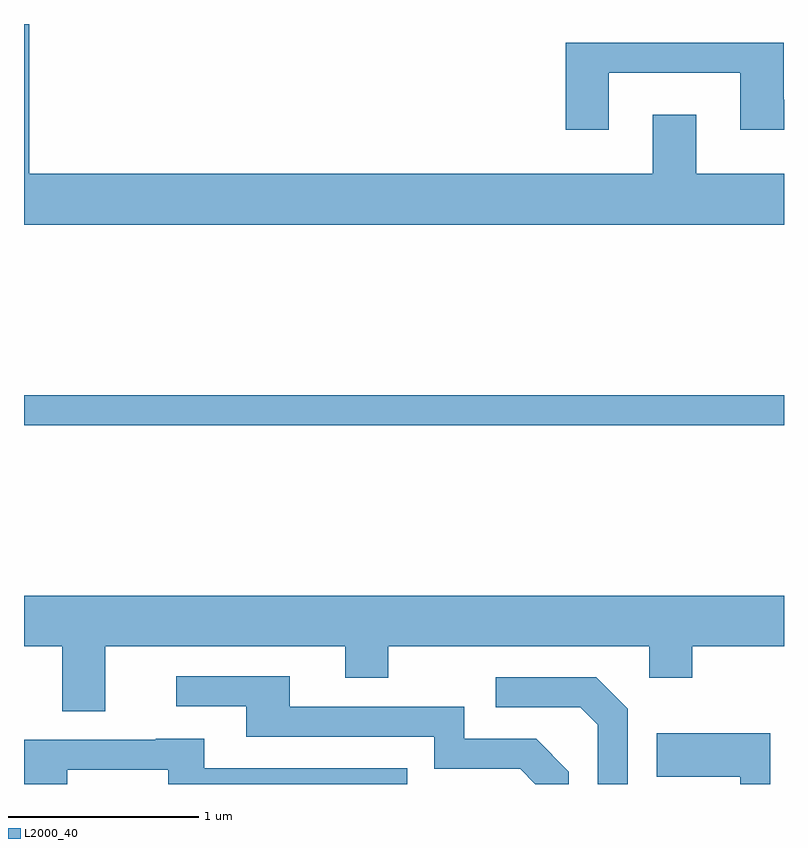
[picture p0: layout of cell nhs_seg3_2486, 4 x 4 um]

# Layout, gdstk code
import gdstk
lib = gdstk.Library(unit=1e-6, precision=1e-09)
def R(c, l, rs):  # rectangles x0, y0, x1, y1
    for r in rs: c.add(gdstk.rectangle(r[:2], r[2:], *l))
def P(c, l, *ps):  # polygons
    for p in ps: c.add(gdstk.Polygon(p, *l))
L2000_40 = (2000, 40)

nhs_seg3_2486 = lib.new_cell('nhs_seg3_2486')
R(nhs_seg3_2486, L2000_40, [(257.611,1193.781,261.611,1193.939)])
P(nhs_seg3_2486, L2000_40, [(261.611,1195.104),(261.149,1195.104),(261.149,1195.414),(260.921,1195.414),(260.921,1195.104),(257.639,1195.104),(257.639,1195.892),(257.611,1195.892),(257.611,1194.836),(261.611,1194.836)],
  [(260.689,1195.636),(261.381,1195.636),(261.381,1195.336),(261.611,1195.336),(261.611,1195.494),(261.609,1195.494),(261.609,1195.794),(260.461,1195.794),(260.461,1195.336),(260.689,1195.336)],
  [(258.039,1192.616),(259.301,1192.616),(259.301,1192.451),(259.529,1192.451),(259.529,1192.616),(260.901,1192.616),(260.901,1192.451),(261.129,1192.451),(261.129,1192.616),(261.611,1192.616),(261.611,1192.884),(257.611,1192.884),(257.611,1192.616),(257.811,1192.616),(257.811,1192.276),(258.039,1192.276)],
  [(260.479,1191.957),(260.307,1192.129),(259.929,1192.129),(259.929,1192.299),(259.009,1192.299),(259.009,1192.459),(258.413,1192.459),(258.413,1192.301),(258.781,1192.301),(258.781,1192.141),(259.771,1192.141),(259.771,1191.971),(260.224,1191.971),(260.303,1191.892),(260.479,1191.892)],
  [(260.789,1192.287),(260.622,1192.454),(260.093,1192.454),(260.093,1192.296),(260.539,1192.296),(260.631,1192.204),(260.631,1191.892),(260.789,1191.892)],
  [(261.539,1192.159),(260.941,1192.159),(260.941,1191.931),(261.381,1191.931),(261.381,1191.892),(261.539,1191.892)],
  [(257.839,1191.966),(258.371,1191.966),(258.371,1191.892),(259.628,1191.892),(259.628,1191.974),(258.559,1191.974),(258.559,1192.129),(258.305,1192.129),(258.305,1192.124),(257.611,1192.124),(257.611,1191.892),(257.839,1191.892)])

lib.write_gds('nhs_seg3_2486.gds')
